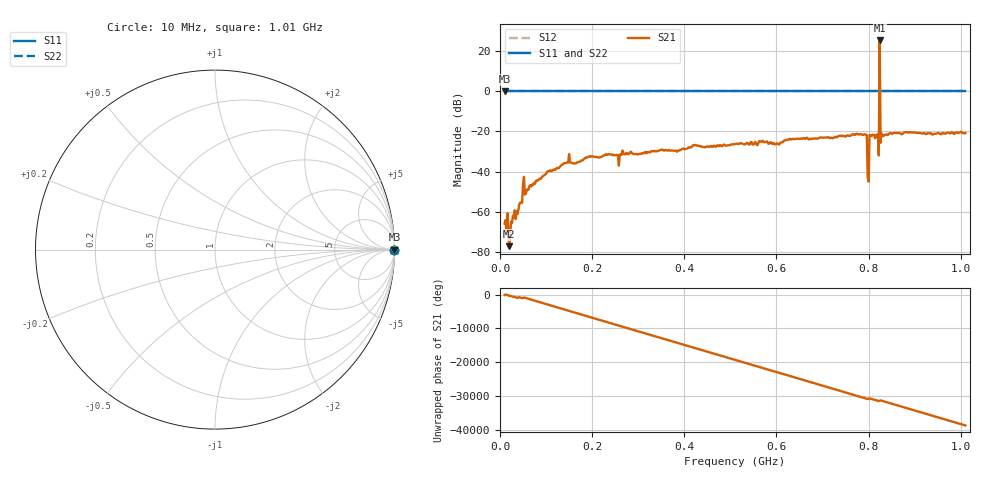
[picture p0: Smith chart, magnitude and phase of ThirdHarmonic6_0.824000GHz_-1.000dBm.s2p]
! 8/16/2025 3:23:17 AM
! C:\ANRITSUVNA\TEMP\TEMP.S2P
! CHANNEL.1
! TR.MEASUREMENT
! RAW.DATA
! RF.CORRECTION.OFF
! AVERAGING.OFF
! IF.BANDWIDTH: 5KHZ
! SWEEPTYPE:  FREQ.SWEEP(Linear)
! Reference Plane Port Info
! PORT:  PORT1  PORT2
! DISTANCE:  0  m  0  m
! TIME:  0  s  0  s
! PHASE.OFFSET:  0  deg.  0  deg.
! LOSS:  0  dB  0  dB
! REF.LOSS:  0  dB  0  dB
! REF.FREQ:  0  Hz  0  Hz
! Power Info
! POWER:  -20  dBm  -20  dBm
! EFF.POWER:  -20  dBm  -20  dBm
! SOURCE.ATTEN:  0  dB  0  dB
! TEST.ATTEN:  0  dB  0  dB
# GHZ S RI R 50.0
! FREQ.GHZ  S11RE  S11IM  S21RE  S21IM  S12RE  S12IM  S22RE  S22IM
!; PortSelection: Port_12
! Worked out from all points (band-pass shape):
!   501 points, 10 MHz to 1.01 GHz, reference 50 ohm
!   highest |S21| = 25.35 dB at 824 MHz (marker M1); lowest = -77.2 dB at 20 MHz (marker M2)
!   |S21| within 3 dB of the highest: 823.8953 MHz to 824.1176 MHz (222.2 kHz wide, 0.027 % of centre)
!   lowest |S11| = 0.0 dB at 10 MHz (marker M3)
!   |S11| at or under -10 dB: nowhere
!   |S22| runs from 0.0 to 0.0 dB; largest |S21 - S12| = 19
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0.01  1 0  -5.73e-05 -0.000504  1 0  1 0
0.02  1 0  0.000137 1.12e-05  1 0  1 0
0.022  1 0  0.000239 0.000107  1 0  1 0
0.028  1 0  -0.000778 0.000156  1 0  1 0
0.054  1 0  -0.00266 -0.000205  1 0  1 0
0.058  1 0  0.00318 0.00123  1 0  1 0
0.146  1 0  0.0144 0.00909  1 0  1 0
0.178  1 0  -0.0187 -0.00182  1 0  1 0
0.344  1 0  0.0299 -0.0136  1 0  1 0
0.51  1 0  -0.0358 0.0325  1 0  1 0
0.678  1 0  -0.0546 -0.0352  1 0  1 0
0.792  1 0  0.0272 -0.0801  1 0  1 0
0.796  1 0  -0.0478 0.0643  1 0  1 0
0.802  1 0  -0.0336 -0.0749  1 0  1 0
0.806  1 0  0.00519 0.076  1 0  1 0
0.818  1 0  0.0686 -0.0489  1 0  1 0
0.82  1 0  -0.0411 -0.0742  1 0  1 0
0.824  1 0  0.6374 -18.51  1 0  1 0
0.828  1 0  0.00946 -0.0876  1 0  1 0
0.83  1 0  -0.0784 -0.0184  1 0  1 0
0.844  1 0  0.0872 0.000405  1 0  1 0
1.01  1 0  -0.0682 0.0613  1 0  1 0
